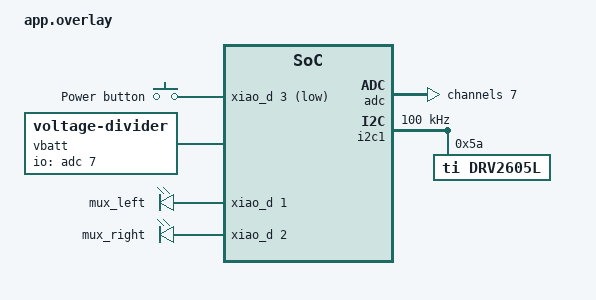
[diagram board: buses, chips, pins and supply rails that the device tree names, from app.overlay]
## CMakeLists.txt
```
#
# Copyright (c) 2018 Nordic Semiconductor
#
# SPDX-License-Identifier: LicenseRef-Nordic-5-Clause
#
cmake_minimum_required(VERSION 3.20.0)

find_package(Zephyr REQUIRED HINTS $ENV{ZEPHYR_BASE})
project(peripheral_uart)

# NORDIC SDK APP START

# Add include directories (allows #include <ble/ble_service.h> style)
target_include_directories(app PRIVATE
  src/include
)

# Add source files organized by domain
target_sources(app PRIVATE
  # Main application
  src/main.c
  
  # Services
  src/services/ble/ble_service.c
  src/services/ble/stride_service.c
  src/services/battery/battery_service.c
  src/services/haptics/haptic_service.c
  
  # Drivers
  src/drivers/gpio.c
  src/drivers/haptics/drv2605l.c
  src/drivers/haptics/motor_mux.c
  
  # OS components
  src/os/threads/threads.c

  # Power management
  src/power/power_mgmt.c
)

# NORDIC SDK APP END
```

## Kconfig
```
#
# Copyright (c) 2018 Nordic Semiconductor
#
# SPDX-License-Identifier: LicenseRef-Nordic-5-Clause
#

menu "Nordic UART BLE GATT service sample"

rsource "src/Kconfig"

config BT_NUS_THREAD_STACK_SIZE
	int "Thread stack size"
	default 1024
	help
	  Stack size used in each of the two threads

config BT_NUS_UART_BUFFER_SIZE
	int "UART payload buffer element size"
	default 40
	help
	  Size of the payload buffer in each RX and TX FIFO element

config BT_NUS_SECURITY_ENABLED
	bool "Enable security"
	default y
	select BT_SMP
	help
	  "Enable BLE security for the UART service"

config BT_NUS_UART_RX_WAIT_TIME
	int "Timeout for UART RX complete event"
	default 50000
	help
	  Wait for RX complete event time in microseconds

config SETTINGS
	default y

config ZMS
	default y if (SOC_FLASH_NRF_RRAM || SOC_FLASH_NRF_MRAM)

config NVS
	default y if !(SOC_FLASH_NRF_RRAM || SOC_FLASH_NRF_MRAM)

endmenu

source "Kconfig.zephyr"
```

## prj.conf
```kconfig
#
# Copyright (c) 2018 Nordic Semiconductor
#
# SPDX-License-Identifier: LicenseRef-Nordic-5-Clause
#

CONFIG_GPIO=y

# Enable I2C for haptic driver
CONFIG_I2C=y

CONFIG_HEAP_MEM_POOL_SIZE=2048

CONFIG_BT=y
CONFIG_BT_PERIPHERAL=y
CONFIG_BT_DEVICE_NAME="Stride Wristband"
CONFIG_BT_MAX_CONN=1
CONFIG_BT_MAX_PAIRED=1

# Custom GATT service (registered at compile time, no Kconfig needed)

# Enable bonding
CONFIG_BT_SETTINGS=y
CONFIG_FLASH=y
CONFIG_FLASH_PAGE_LAYOUT=y
CONFIG_FLASH_MAP=y

# Enable DK LED and Buttons library
CONFIG_DK_LIBRARY=y

CONFIG_SYSTEM_WORKQUEUE_STACK_SIZE=2048
# Config logger
CONFIG_LOG=y
CONFIG_USE_SEGGER_RTT=y
CONFIG_LOG_BACKEND_RTT=y
CONFIG_LOG_BACKEND_UART=n
CONFIG_LOG_PRINTK=n

CONFIG_ASSERT=y

# ADC for battery voltage measurement
CONFIG_ADC=y
CONFIG_ADC_NRFX_SAADC=y

# Power button: System OFF + GPIO wakeup
CONFIG_POWEROFF=y
CONFIG_INPUT=y
```

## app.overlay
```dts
/*
 * Copyright (c) 2022 Nordic Semiconductor ASA
 *
 * SPDX-License-Identifier: LicenseRef-Nordic-5-Clause
 */

#include <zephyr/dt-bindings/adc/adc.h>
#include <zephyr/dt-bindings/adc/nrf-adc.h>

/* 
 * I2C configuration for DRV2605L Haptic Driver
 * 
 * Board: Seeed XIAO BLE Sense (nRF52840)
 * The DRV2605L is connected via I2C at address 0x5A (default).
 * Using I2C1 bus which Arduino typically uses on expansion boards.
 */

/*
 * ADG884 motor mux GPIO control
 *
 * The DRV2605L differential pair (OUT+, OUT-) feeds the ADG884's two SPDT
 * channels (D1 -> ch1, D2 -> ch2).  Both IN pins are driven to the same
 * level so the full pair routes to one motor at a time:
 *
 *   IN1=IN2=LOW  -> A-side -> Motor 1 (left)   via S1A/S2A
 *   IN1=IN2=HIGH -> B-side -> Motor 2 (right)  via S1B/S2B
 *
 * D1 (P0.03) = IN1, D2 (P0.28) = IN2.
 */
/ {
	/*
	 * Power button on D3 (P0.29).
	 * Wired: tactile switch between D3 and GND; internal pull-up enabled.
	 * wakeup-source configures the pin as a PORT-event level sense so it
	 * can wake the chip from System OFF (GPIOTE edge sense does not work
	 * in System OFF).
	 */
	power_button: power_button {
		compatible = "gpio-keys";
		pwr_btn: pwr_btn {
			gpios = <&xiao_d 3 (GPIO_ACTIVE_LOW | GPIO_PULL_UP)>;
			label = "Power button";
			zephyr,code = <INPUT_KEY_POWER>;
		};
		wakeup-source;
	};

	/*
	 * Battery voltage measurement
	 * BAT+ — 1MΩ — P0.31 (AIN7) — 1MΩ — GND
	 * P0.14 enables the divider (active-low, only during ADC sample).
	 */
	vbatt: vbatt {
		compatible = "voltage-divider";
		io-channels = <&adc 7>;
		/* No physical divider — P0.31 connects directly to BAT+.
		 * output-ohms == full-ohms means scale factor = 1 (no scaling). */
		output-ohms = <1>;
		full-ohms   = <1>;
	};

	motor_mux: motor_mux {
		compatible = "gpio-leds";
		mux_left: mux_left {
			gpios = <&xiao_d 1 GPIO_ACTIVE_HIGH>;
		};
		mux_right: mux_right {
			gpios = <&xiao_d 2 GPIO_ACTIVE_HIGH>;
		};
	};
};

/* SAADC channel 7 — AIN7 = P0.31, battery voltage divider input */
&adc {
	#address-cells = <1>;
	#size-cells = <0>;

	channel@7 {
		reg = <7>;
		zephyr,gain = "ADC_GAIN_1_6";
		zephyr,reference = "ADC_REF_INTERNAL";
		zephyr,acquisition-time = <ADC_ACQ_TIME_DEFAULT>;
		zephyr,input-positive = <NRF_SAADC_AIN7>;
		zephyr,resolution = <12>;
	};
};

/* Use I2C1 instead of I2C0 (different pins) */
&i2c1 {
	compatible = "nordic,nrf-twim";
	status = "okay";
	clock-frequency = <I2C_BITRATE_STANDARD>; /* 100 kHz */
	
	pinctrl-0 = <&i2c1_default>;
	pinctrl-1 = <&i2c1_sleep>;
	pinctrl-names = "default", "sleep";
	
	drv2605l: drv2605l@5a {
		compatible = "ti,drv2605l";
		reg = <0x5a>;
		status = "okay";
	};
};
```

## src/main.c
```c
/*
 * Copyright (c) 2018 Nordic Semiconductor ASA
 *
 * SPDX-License-Identifier: LicenseRef-Nordic-5-Clause
 * 
 * Xavier Quintanilla
 */

/** @file
 *  @brief Stride Wristband BLE Haptic Controller
 */

#include <zephyr/types.h>
#include <zephyr/kernel.h>
#include <zephyr/logging/log.h>

#include <ble/ble_service.h>
#include <ble/stride_service.h>
#include <battery/battery_service.h>
#include <power/power_mgmt.h>
#include <gpio/gpio.h>
#include <os/threads.h>
#include <haptics/haptic_service.h>

#define LOG_MODULE_NAME stride_wristband
LOG_MODULE_REGISTER(LOG_MODULE_NAME);

/**
 * @brief Main application entry point
 */
int main(void)
{
	int err;

	LOG_INF("Starting BLE Haptic Motor Controller");

	/* Initialize GPIO (LEDs and buttons) */
	err = gpio_init();
	if (err) {
		LOG_ERR("GPIO initialization failed (err %d)", err);
		gpio_error_state();
	}

	/* Initialize power management — starts in idle, suspends LED thread */
	power_mgmt_init();

	/* Initialize BLE subsystem */
	err = ble_service_init();
	if (err) {
		LOG_ERR("BLE initialization failed (err %d)", err);
		gpio_error_state();
	}

	/* Initialize Stride custom GATT service */
	err = stride_service_init();
	if (err) {
		LOG_ERR("Stride service initialization failed (err %d)", err);
	}

	/* Initialize battery monitoring */
	err = battery_service_init();
	if (err) {
		LOG_ERR("Battery service initialization failed (err %d)", err);
	}

	/* Initialize haptic service */
	err = haptic_service_init();
	if (err) {
		LOG_ERR("Haptic service initialization failed (err %d)", err);
		LOG_WRN("Continuing without haptic feedback support");
	}

	/* Start BLE advertising */
	err = ble_start_advertising();
	if (err) {
		LOG_ERR("Advertising start failed (err %d)", err);
		gpio_error_state();
	}

	/* Initialize thread manager (threads are auto-started) */
	threads_init();

	LOG_INF("Initialization complete. System running.");

	while (1) {
		k_sleep(K_FOREVER);
	}

	return 0;
}
```
